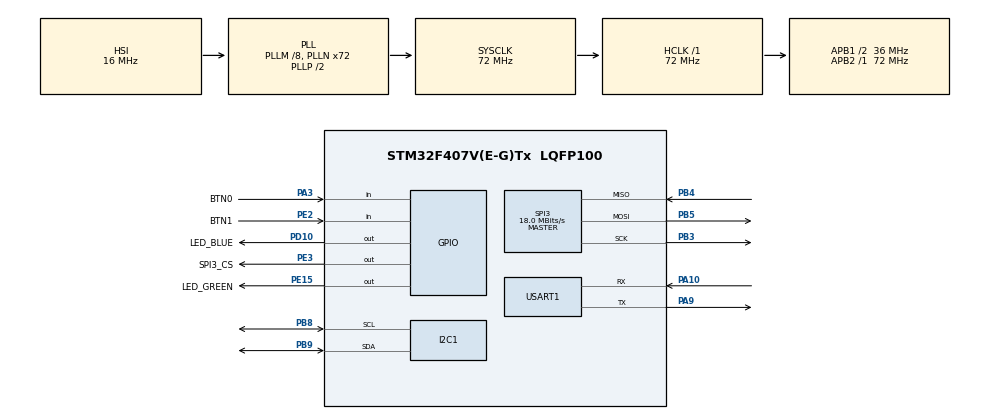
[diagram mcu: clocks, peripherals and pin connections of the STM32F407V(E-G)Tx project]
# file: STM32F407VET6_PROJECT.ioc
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Dma.Request0=USART1_RX
Dma.USART1_RX.0.Direction=DMA_PERIPH_TO_MEMORY
Dma.USART1_RX.0.FIFOMode=DMA_FIFOMODE_DISABLE
Dma.USART1_RX.0.Instance=DMA2_Stream2
Dma.USART1_RX.0.MemDataAlignment=DMA_MDATAALIGN_BYTE
Dma.USART1_RX.0.MemInc=DMA_MINC_ENABLE
Dma.USART1_RX.0.Mode=DMA_NORMAL
Dma.USART1_RX.0.PeriphDataAlignment=DMA_PDATAALIGN_BYTE
Dma.USART1_RX.0.PeriphInc=DMA_PINC_DISABLE
Dma.USART1_RX.0.Priority=DMA_PRIORITY_LOW
FREERTOS.Tasks01=NormalTask5ms,24,256,StartNormalTask5ms,Default,NULL,Static,NormalTask5msBuffer,NormalTask5msControlBlock;HighTask10ms,40,256,StartHighTask10ms,Default,NULL,Static,HighTask10msBuffer,HighTask10msControlBlock;LowTask50ms,8,256,StartLowTask50ms,Default,NULL,Static,LowTask50msBuffer,LowTask50msControlBlock;NormalTask20ms,8,256,StartNormalTask20ms,Default,NULL,Static,NormalTask20msBuffer,NormalTask20msControlBlock
FREERTOS.configUSE_NEWLIB_REENTRANT=1
I2C1.I2C_Mode=I2C_Fast
Mcu.Family=STM32F4
Mcu.Name=STM32F407V(E-G)Tx
Mcu.Package=LQFP100
NVIC.DMA2_Stream2_IRQn=true\:5\:0\:true\:false\:true\:true\:false\:true\:true
NVIC.HASH_RNG_IRQn=true\:14\:0\:true\:false\:true\:true\:true\:true\:true
NVIC.PriorityGroup=NVIC_PRIORITYGROUP_4
NVIC.TIM7_IRQn=true\:15\:0\:false\:false\:true\:false\:false\:true\:true
NVIC.TimeBase=TIM7_IRQn
NVIC.TimeBaseIP=TIM7
NVIC.USART1_IRQn=true\:5\:0\:true\:false\:true\:true\:true\:true\:true
PA10.Mode=Asynchronous
PA10.Signal=USART1_RX
PA13.Mode=Serial_Wire
PA13.Signal=SYS_JTMS-SWDIO
PA14.Mode=Serial_Wire
PA14.Signal=SYS_JTCK-SWCLK
PA3.GPIO_Label=BTN0
PA3.GPIO_PuPd=GPIO_PULLUP
PA3.Signal=GPIO_Input
PA9.Mode=Asynchronous
PA9.Signal=USART1_TX
PB3.Mode=Full_Duplex_Master
PB3.Signal=SPI3_SCK
PB4.Mode=Full_Duplex_Master
PB4.Signal=SPI3_MISO
PB5.Mode=Full_Duplex_Master
PB5.Signal=SPI3_MOSI
PB8.Mode=I2C
PB8.Signal=I2C1_SCL
PB9.Mode=I2C
PB9.Signal=I2C1_SDA
PC14-OSC32_IN.Mode=LSE-External-Oscillator
PC14-OSC32_IN.Signal=RCC_OSC32_IN
PC15-OSC32_OUT.Mode=LSE-External-Oscillator
PC15-OSC32_OUT.Signal=RCC_OSC32_OUT
PD10.GPIO_Label=LED_BLUE
PD10.Signal=GPIO_Output
PE15.GPIO_Label=LED_GREEN
PE15.Signal=GPIO_Output
PE2.GPIO_Label=BTN1
PE2.GPIO_PuPd=GPIO_PULLUP
PE2.Signal=GPIO_Input
PE3.GPIO_Label=SPI3_CS
PE3.PinState=GPIO_PIN_SET
PE3.Signal=GPIO_Output
PH0-OSC_IN.Mode=HSE-External-Oscillator
PH0-OSC_IN.Signal=RCC_OSC_IN
PH1-OSC_OUT.Mode=HSE-External-Oscillator
PH1-OSC_OUT.Signal=RCC_OSC_OUT
ProjectManager.HeapSize=0x200
ProjectManager.StackSize=0x400
ProjectManager.TargetToolchain=STM32CubeIDE
RCC.48MHZClocksFreq_Value=48000000
RCC.AHBFreq_Value=72000000
RCC.APB1CLKDivider=RCC_HCLK_DIV2
RCC.APB1Freq_Value=36000000
RCC.APB1TimFreq_Value=72000000
RCC.APB2Freq_Value=72000000
RCC.APB2TimFreq_Value=72000000
RCC.CortexFreq_Value=72000000
RCC.HCLKFreq_Value=72000000
RCC.HSE_VALUE=24000000
RCC.HSI_VALUE=16000000
RCC.PLLM=8
RCC.PLLN=72
RCC.PLLQ=3
RCC.SYSCLKFreq_VALUE=72000000
RCC.SYSCLKSource=RCC_SYSCLKSOURCE_PLLCLK
RCC.VCOOutputFreq_Value=144000000
SPI3.CalculateBaudRate=18.0 MBits/s
SPI3.Direction=SPI_DIRECTION_2LINES
SPI3.Mode=SPI_MODE_MASTER
SPI3.VirtualType=VM_MASTER
USART1.VirtualMode=VM_ASYNC
VP_FREERTOS_VS_CMSIS_V2.Mode=CMSIS_V2
VP_RNG_VS_RNG.Mode=RNG_Activate
VP_RTC_VS_RTC_Activate.Mode=RTC_Enabled
VP_SYS_VS_tim7.Mode=TIM7
board=custom

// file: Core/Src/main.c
/* USER CODE BEGIN Header */
/**
  ******************************************************************************
  * @file           : main.c
  * @brief          : Main program body
  ******************************************************************************
  * @attention
  *
  * Copyright (c) 2025 STMicroelectronics.
  * All rights reserved.
  *
  * This software is licensed under terms that can be found in the LICENSE file
  * in the root directory of this software component.
  * If no LICENSE file comes with this software, it is provided AS-IS.
  *
  ******************************************************************************
  */
/* USER CODE END Header */
#include "main.h"
#include "cmsis_os.h"
#include "dma.h"
#include "i2c.h"
#include "rng.h"
#include "rtc.h"
#include "spi.h"
#include "usart.h"
#include "gpio.h"

/* USER CODE BEGIN Includes */
#include "logger.h"
#include "multi_button_user.h"
#include "lwshell/lwshell_user.h"
#include "smarttimer_user.h"
#include "xmodem.h"
#include "test.h"

/* USER CODE END Includes */

void SystemClock_Config(void);
void MX_FREERTOS_Init(void);

int main(void)
{

  /* USER CODE BEGIN 1 */
  stim_init();
  /* USER CODE END 1 */

  /* MCU Configuration--------------------------------------------------------*/

  /* Reset of all peripherals, Initializes the Flash interface and the Systick. */
  HAL_Init();

  /* Configure the system clock */
  SystemClock_Config();

  /* Initialize all configured peripherals */
  MX_GPIO_Init();
  MX_DMA_Init();
  MX_USART1_UART_Init();
  MX_RTC_Init();
  MX_I2C1_Init();
  MX_SPI3_Init();
  MX_RNG_Init();
  /* USER CODE BEGIN 2 */

  random_init();
  logger_init();
  usart_init();

  buttons_init();
  lwshell_user_init();

  //at24cxx_test();
  //w25qxx_test();
  //ee_test();

  logger_info("System Start!!!");
  /* USER CODE END 2 */

  /* Init scheduler */
  osKernelInitialize();  /* Call init function for freertos objects (in cmsis_os2.c) */
  MX_FREERTOS_Init();

  /* Start scheduler */
  osKernelStart();

  /* We should never get here as control is now taken by the scheduler */

  /* Infinite loop */
  while (1)
  {

  }
}

void SystemClock_Config(void)
{
  RCC_OscInitTypeDef RCC_OscInitStruct = {0};
  RCC_ClkInitTypeDef RCC_ClkInitStruct = {0};

  /** Configure the main internal regulator output voltage
  */
  __HAL_RCC_PWR_CLK_ENABLE();
  __HAL_PWR_VOLTAGESCALING_CONFIG(PWR_REGULATOR_VOLTAGE_SCALE1);

  /** Initializes the RCC Oscillators according to the specified parameters
  * in the RCC_OscInitTypeDef structure.
  */
  RCC_OscInitStruct.OscillatorType = RCC_OSCILLATORTYPE_HSI|RCC_OSCILLATORTYPE_LSI;
  RCC_OscInitStruct.HSIState = RCC_HSI_ON;
  RCC_OscInitStruct.HSICalibrationValue = RCC_HSICALIBRATION_DEFAULT;
  RCC_OscInitStruct.LSIState = RCC_LSI_ON;
  RCC_OscInitStruct.PLL.PLLState = RCC_PLL_ON;
  RCC_OscInitStruct.PLL.PLLSource = RCC_PLLSOURCE_HSI;
  RCC_OscInitStruct.PLL.PLLM = 8;
  RCC_OscInitStruct.PLL.PLLN = 72;
  RCC_OscInitStruct.PLL.PLLP = RCC_PLLP_DIV2;
  RCC_OscInitStruct.PLL.PLLQ = 3;
  if (HAL_RCC_OscConfig(&RCC_OscInitStruct) != HAL_OK)
  {
    Error_Handler();
  }

  /** Initializes the CPU, AHB and APB buses clocks
  */
  RCC_ClkInitStruct.ClockType = RCC_CLOCKTYPE_HCLK|RCC_CLOCKTYPE_SYSCLK
                              |RCC_CLOCKTYPE_PCLK1|RCC_CLOCKTYPE_PCLK2;
  RCC_ClkInitStruct.SYSCLKSource = RCC_SYSCLKSOURCE_PLLCLK;
  RCC_ClkInitStruct.AHBCLKDivider = RCC_SYSCLK_DIV1;
  RCC_ClkInitStruct.APB1CLKDivider = RCC_HCLK_DIV2;
  RCC_ClkInitStruct.APB2CLKDivider = RCC_HCLK_DIV1;

  if (HAL_RCC_ClockConfig(&RCC_ClkInitStruct, FLASH_LATENCY_2) != HAL_OK)
  {
    Error_Handler();
  }
}

void HAL_TIM_PeriodElapsedCallback(TIM_HandleTypeDef *htim)
{
  /* USER CODE BEGIN Callback 0 */
  if (htim->Instance == TIM7)
  {
    stim_tick();
  }
  /* USER CODE END Callback 0 */
  if (htim->Instance == TIM7)
  {
    HAL_IncTick();
  }
}

void Error_Handler(void)
{
  __disable_irq();
  while (1)
  {
  }
}

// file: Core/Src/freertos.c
/* USER CODE BEGIN Header */
/**
  ******************************************************************************
  * File Name          : freertos.c
  * Description        : Code for freertos applications
  ******************************************************************************
  * @attention
  *
  * Copyright (c) 2026 STMicroelectronics.
  * All rights reserved.
  *
  * This software is licensed under terms that can be found in the LICENSE file
  * in the root directory of this software component.
  * If no LICENSE file comes with this software, it is provided AS-IS.
  *
  ******************************************************************************
  */
/* USER CODE END Header */

#include "FreeRTOS.h"
#include "task.h"
#include "main.h"
#include "cmsis_os.h"

/* USER CODE BEGIN Includes */
#include "multi_button.h"
#include "smarttimer.h"
#include "xmodem.h"

/* USER CODE END Includes */

typedef StaticTask_t osStaticThreadDef_t;

/* Definitions for NormalTask5ms */
osThreadId_t NormalTask5msHandle;
uint32_t NormalTask5msBuffer[ 256 ];
osStaticThreadDef_t NormalTask5msControlBlock;
const osThreadAttr_t NormalTask5ms_attributes = {
  .name = "NormalTask5ms",
  .cb_mem = &NormalTask5msControlBlock,
  .cb_size = sizeof(NormalTask5msControlBlock),
  .stack_mem = &NormalTask5msBuffer[0],
  .stack_size = sizeof(NormalTask5msBuffer),
  .priority = (osPriority_t) osPriorityNormal,
};
/* Definitions for HighTask10ms */
osThreadId_t HighTask10msHandle;
uint32_t HighTask10msBuffer[ 256 ];
osStaticThreadDef_t HighTask10msControlBlock;
const osThreadAttr_t HighTask10ms_attributes = {
  .name = "HighTask10ms",
  .cb_mem = &HighTask10msControlBlock,
  .cb_size = sizeof(HighTask10msControlBlock),
  .stack_mem = &HighTask10msBuffer[0],
  .stack_size = sizeof(HighTask10msBuffer),
  .priority = (osPriority_t) osPriorityHigh,
};
/* Definitions for LowTask50ms */
osThreadId_t LowTask50msHandle;
uint32_t LowTask50msBuffer[ 256 ];
osStaticThreadDef_t LowTask50msControlBlock;
const osThreadAttr_t LowTask50ms_attributes = {
  .name = "LowTask50ms",
  .cb_mem = &LowTask50msControlBlock,
  .cb_size = sizeof(LowTask50msControlBlock),
  .stack_mem = &LowTask50msBuffer[0],
  .stack_size = sizeof(LowTask50msBuffer),
  .priority = (osPriority_t) osPriorityLow,
};
/* Definitions for NormalTask20ms */
osThreadId_t NormalTask20msHandle;
uint32_t NormalTask20msBuffer[ 256 ];
osStaticThreadDef_t NormalTask20msControlBlock;
const osThreadAttr_t NormalTask20ms_attributes = {
  .name = "NormalTask20ms",
  .cb_mem = &NormalTask20msControlBlock,
  .cb_size = sizeof(NormalTask20msControlBlock),
  .stack_mem = &NormalTask20msBuffer[0],
  .stack_size = sizeof(NormalTask20msBuffer),
  .priority = (osPriority_t) osPriorityLow,
};

void StartNormalTask5ms(void *argument);
void StartHighTask10ms(void *argument);
void StartLowTask50ms(void *argument);
void StartNormalTask20ms(void *argument);

void MX_FREERTOS_Init(void); /* (MISRA C 2004 rule 8.1) */

void MX_FREERTOS_Init(void) {

  /* Create the thread(s) */
  /* creation of NormalTask5ms */
  NormalTask5msHandle = osThreadNew(StartNormalTask5ms, NULL, &NormalTask5ms_attributes);

  /* creation of HighTask10ms */
  HighTask10msHandle = osThreadNew(StartHighTask10ms, NULL, &HighTask10ms_attributes);

  /* creation of LowTask50ms */
  LowTask50msHandle = osThreadNew(StartLowTask50ms, NULL, &LowTask50ms_attributes);

  /* creation of NormalTask20ms */
  NormalTask20msHandle = osThreadNew(StartNormalTask20ms, NULL, &NormalTask20ms_attributes);

}

void StartNormalTask5ms(void *argument)
{
  /* USER CODE BEGIN StartNormalTask5ms */
  /* Infinite loop */
  for(;;)
  {
    button_ticks();
    osDelay(5);
  }
  /* USER CODE END StartNormalTask5ms */
}

void StartHighTask10ms(void *argument)
{
  /* USER CODE BEGIN StartHighTask10ms */
  /* Infinite loop */
  for(;;)
  {
    stim_mainloop();
    xmodem_receive_mainfuncion();
    osDelay(10);
  }
  /* USER CODE END StartHighTask10ms */
}

void StartLowTask50ms(void *argument)
{
  /* USER CODE BEGIN StartLowTask50ms */
  /* Infinite loop */
  for(;;)
  {
    HAL_GPIO_TogglePin(LED_BLUE_GPIO_Port, LED_BLUE_Pin);
    osDelay(50);
  }
  /* USER CODE END StartLowTask50ms */
}

void StartNormalTask20ms(void *argument)
{
  /* USER CODE BEGIN StartNormalTask20ms */
  /* Infinite loop */
  for(;;)
  {
    HAL_GPIO_TogglePin(LED_GREEN_GPIO_Port, LED_GREEN_Pin);
    osDelay(20);
  }
  /* USER CODE END StartNormalTask20ms */
}
